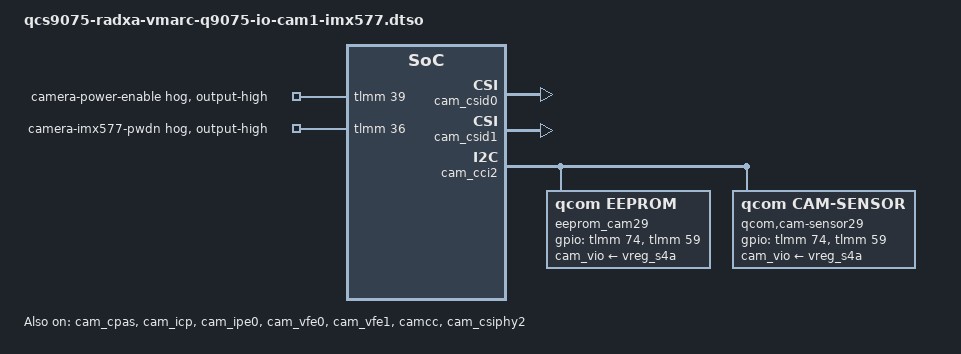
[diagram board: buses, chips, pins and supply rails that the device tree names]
// SPDX-License-Identifier: BSD-3-Clause
/*
 * Copyright (c) 2026 Radxa Computer (Shenzhen) Co., Ltd.
 */

/dts-v1/;
/plugin/;

#include <dt-bindings/gpio/gpio.h>
#include <dt-bindings/interrupt-controller/irq.h>
#include <dt-bindings/interrupt-controller/arm-gic.h>
#include <dt-bindings/pinctrl/qcom,pmic-gpio.h>
#include <dt-bindings/clock/qcom,sa8775p-camcc.h>
#include <dt-bindings/clock/qcom,sa8775p-gcc.h>
#include <dt-bindings/interconnect/qcom,icc.h>
#include <dt-bindings/interconnect/qcom,sa8775p-rpmh.h>
#include <dt-bindings/power/qcom-rpmpd.h>
#include <dt-bindings/msm-camera.h>

#include "sa8775p-camera.dtsi"

/ {
	metadata {
		title = "Enable IMX577 camera on CAM1";
		compatible = "radxa,vmarc-q9075-io";
		category = "camera";
		exclusive = "cam_cci2", "cam_csiphy2", "cci2", "cci3", "gpio36",
			    "gpio39", "gpio59", "gpio74";
		description = "Enable IMX577 camera sensor on CAM1.";
	};
};

&soc {
	qcom,cam-res-mgr {
		compatible = "qcom,cam-res-mgr";
		status = "ok";
		gpios-shared = <518 519 520 521>;
	};

	qcom,cam-req-mgr {
		status = "okay";
	};

	qcom,cam-sync {
		status = "okay";
	};

	qcom,cam_smmu {
		status = "okay";
	};

	qcom,cam-cdm-intf {
		status = "okay";
	};

	qcom,rt-cdm0 {
		status = "okay";
	};

	qcom,rt-cdm1 {
		status = "okay";
	};

	qcom,rt-cdm2 {
		status = "okay";
	};

	qcom,rt-cdm3 {
		status = "okay";
	};

	qcom,cam-isp {
		status = "okay";
	};
};

&cam_cpas {
	status = "okay";
};

&cam_icp {
	status = "okay";
};

&cam_icp_firmware {
	status = "okay";
};

&cam_ipe0 {
	status = "okay";
};

&cam_csid0 {
	status = "okay";
};

&cam_vfe0 {
	status = "okay";
};

&cam_csid1 {
	status = "okay";
};

&cam_vfe1 {
	status = "okay";
};

&tlmm {
	cam_power_enable_hog: cam-power-enable-hog {
		gpio-hog;
		gpios = <39 GPIO_ACTIVE_HIGH>;
		output-high;
		line-name = "camera-power-enable";
	};

	cam1_imx577_pwdn_hog: cam1-imx577-pwdn-hog {
		gpio-hog;
		gpios = <36 GPIO_ACTIVE_HIGH>;
		output-high;
		line-name = "camera-imx577-pwdn";
	};

	cam1_imx577_reset_default: cam1-imx577-reset-default-state {
		pins = "gpio59";
		function = "gpio";
		drive-strength = <2>;
		bias-disable;
	};

	cam1_imx577_reset_suspend: cam1-imx577-reset-suspend-state {
		pins = "gpio59";
		function = "gpio";
		drive-strength = <2>;
		bias-pull-down;
	};
};

&camcc {
	status = "okay";
};

&cci2 {
	status = "disabled";
};

&cci3 {
	status = "disabled";
};

&cam_csiphy2 {
	status = "okay";
};

&cam_cci2 {
	status = "okay";

	eeprom_cam29: qcom,eeprom29 {
		cell-index = <29>;
		compatible = "qcom,eeprom";
		cam_vio-supply = <&vreg_s4a>;
		regulator-names = "cam_vio";
		power-domains = <&camcc CAM_CC_TITAN_TOP_GDSC>;
		rgltr-cntrl-support;
		pwm-switch;
		rgltr-min-voltage = <1800000>;
		rgltr-max-voltage = <1800000>;
		rgltr-load-current = <120000>;
		gpio-no-mux = <0>;
		pinctrl-names = "cam_default", "cam_suspend";
		pinctrl-0 = <&cam_sensor_mclk2_active
				&cam1_imx577_reset_default>;
		pinctrl-1 = <&cam_sensor_mclk2_suspend
				&cam1_imx577_reset_suspend>;
		gpios = <&tlmm 74 GPIO_ACTIVE_HIGH>,
			<&tlmm 59 GPIO_ACTIVE_HIGH>;
		gpio-reset = <1>;
		gpio-req-tbl-num = <0 1>;
		gpio-req-tbl-flags = <1 0>;
		gpio-req-tbl-label = "CAMIF_MCLK2", "CAM_RESET2";
		sensor-mode = <0>;
		cci-master = <0>;
		clocks = <&camcc CAM_CC_MCLK2_CLK>;
		clock-names = "cam_clk";
		clock-cntl-level = "nominal";
		clock-rates = <24000000>;
		status = "ok";
	};

	qcom,cam-sensor29 {
		cell-index = <29>;
		compatible = "qcom,cam-sensor";
		csiphy-sd-index = <2>;
		sensor-position-roll = <0>;
		sensor-position-pitch = <0>;
		sensor-position-yaw = <180>;
		eeprom-src = <&eeprom_cam29>;
		cam_vio-supply = <&vreg_s4a>;
		regulator-names = "cam_vio";
		power-domains = <&camcc CAM_CC_TITAN_TOP_GDSC>;
		rgltr-cntrl-support;
		pwm-switch;
		rgltr-min-voltage = <1800000>;
		rgltr-max-voltage = <1800000>;
		rgltr-load-current = <120000>;
		gpio-no-mux = <0>;
		pinctrl-names = "cam_default", "cam_suspend";
		pinctrl-0 = <&cam_sensor_mclk2_active
				&cam1_imx577_reset_default>;
		pinctrl-1 = <&cam_sensor_mclk2_suspend
				&cam1_imx577_reset_suspend>;
		gpios = <&tlmm 74 GPIO_ACTIVE_HIGH>,
			<&tlmm 59 GPIO_ACTIVE_HIGH>;
		gpio-reset = <1>;
		gpio-req-tbl-num = <0 1>;
		gpio-req-tbl-flags = <1 0>;
		gpio-req-tbl-label = "CAM_MCLK2", "CAMIF_RESET2";
		cci-master = <0>;
		cci-device = <2>;
		clocks = <&camcc CAM_CC_MCLK2_CLK>;
		clock-names = "cam_clk";
		clock-cntl-level = "nominal";
		clock-rates = <24000000>;
		status = "ok";
	};
};
